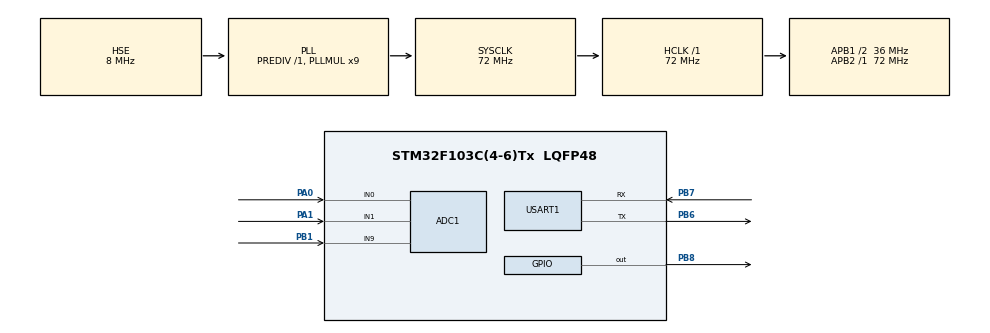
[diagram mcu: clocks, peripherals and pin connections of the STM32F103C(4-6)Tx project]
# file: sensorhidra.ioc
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ADC1.Channel-6\#ChannelRegularConversion=ADC_CHANNEL_9
ADC1.EnableRegularConversion=ENABLE
ADC1.NbrOfConversionFlag=1
ADC1.Rank-6\#ChannelRegularConversion=1
ADC1.SamplingTime-6\#ChannelRegularConversion=ADC_SAMPLETIME_13CYCLES_5
ADC1.master=1
Mcu.Family=STM32F1
Mcu.Name=STM32F103C(4-6)Tx
Mcu.Package=LQFP48
NVIC.PriorityGroup=NVIC_PRIORITYGROUP_4
NVIC.USART1_IRQn=true\:0\:0\:false\:false\:true\:true\:true\:true
PA0-WKUP.Signal=ADCx_IN0
PA1.Signal=ADCx_IN1
PA13.Mode=Serial_Wire
PA13.Signal=SYS_JTMS-SWDIO
PA14.Mode=Serial_Wire
PA14.Signal=SYS_JTCK-SWCLK
PB1.Signal=ADCx_IN9
PB6.Mode=Asynchronous
PB6.Signal=USART1_TX
PB7.Mode=Asynchronous
PB7.Signal=USART1_RX
PB8.Signal=GPIO_Output
PD0-OSC_IN.Mode=HSE-External-Oscillator
PD0-OSC_IN.Signal=RCC_OSC_IN
PD1-OSC_OUT.Mode=HSE-External-Oscillator
PD1-OSC_OUT.Signal=RCC_OSC_OUT
ProjectManager.HeapSize=0x200
ProjectManager.StackSize=0x400
ProjectManager.TargetToolchain=STM32CubeIDE
RCC.ADCPresc=RCC_ADCPCLK2_DIV6
RCC.AHBFreq_Value=72000000
RCC.APB1CLKDivider=RCC_HCLK_DIV2
RCC.APB1Freq_Value=36000000
RCC.APB1TimFreq_Value=72000000
RCC.APB2Freq_Value=72000000
RCC.APB2TimFreq_Value=72000000
RCC.HCLKFreq_Value=72000000
RCC.PLLMUL=RCC_PLL_MUL9
RCC.PLLSourceVirtual=RCC_PLLSOURCE_HSE
RCC.SYSCLKFreq_VALUE=72000000
RCC.SYSCLKSource=RCC_SYSCLKSOURCE_PLLCLK
RCC.USBFreq_Value=72000000
SH.ADCx_IN0.0=ADC1_IN0,IN0
SH.ADCx_IN1.0=ADC1_IN1,IN1
SH.ADCx_IN9.0=ADC1_IN9,IN9
TIM2.Prescaler=72-1
TIM3.Period=999
TIM3.Prescaler=71
USART1.VirtualMode=VM_ASYNC
VP_TIM2_VS_ClockSourceINT.Mode=Internal
VP_TIM3_VS_ClockSourceINT.Mode=Internal
board=custom

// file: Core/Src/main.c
/* USER CODE BEGIN Header */
/**
  ******************************************************************************
  * @file           : main.c
  * @brief          : Main program body
  ******************************************************************************
  * @attention
  *
  * Copyright (c) 2025 STMicroelectronics.
  * All rights reserved.
  *
  * This software is licensed under terms that can be found in the LICENSE file
  * in the root directory of this software component.
  * If no LICENSE file comes with this software, it is provided AS-IS.
  *
  ******************************************************************************
  */
/* USER CODE END Header */
#include "main.h"

/* USER CODE BEGIN Includes */
#include <stdio.h>
#include <string.h>
/* USER CODE END Includes */

/* USER CODE BEGIN PD */
#define DS18B20_PORT GPIOB
#define DS18B20_PIN GPIO_PIN_8
#define MAX485_RX_EN_PORT GPIOB
#define MAX485_RX_EN_PIN GPIO_PIN_3
#define MAX485_TX_EN_PORT GPIOA
#define MAX485_TX_EN_PIN GPIO_PIN_15

#define ADC_VREF        3.3f
#define ADC_FULLSCALE   4095.0f
#define TDS_FACTOR_K    0.5f     // 0.5 padrão (NaCl). Ajuste na calibração.
#define ALPHA_TEMP      0.02f    // coef. térmico da condutividade

#define SLOPE_25_mV_pH  59.16f   // @25°C
/* USER CODE END PD */

ADC_HandleTypeDef hadc1;

TIM_HandleTypeDef htim2;
TIM_HandleTypeDef htim3;

UART_HandleTypeDef huart1;

/* USER CODE BEGIN PV */
volatile uint16_t v0, v1, v2;
volatile float a0, a1, a2, NTU, NTU_regressao;
volatile float NTU_mul = 2.881, NTU_lin = 538;
float Temperature = 0;
float Humidity = 0;
uint8_t Presence = 0;
uint8_t Rh_byte1, Rh_byte2, Temp_byte1, Temp_byte2;
uint16_t SUM, RH, TEMP;

// Variaveis de TDS
float TDS_ppm;         // ppm (mg/L)
float EC_uScm;         // µS/cm
float EC_mScm;         // mS/cm
volatile float mScm_regressao;
volatile float mScm_mul = 1.37;

// Variaveis de pH
float v_ph;
float pH_value;
float K_DIV = 0.68;

// Variavel de recepção da UART
volatile uint8_t rx_byte;

/* USER CODE END PV */

void SystemClock_Config(void);
static void MX_GPIO_Init(void);
static void MX_ADC1_Init(void);
static void MX_TIM3_Init(void);
static void MX_USART1_UART_Init(void);
static void MX_TIM2_Init(void);

/* USER CODE BEGIN 0 */

static HAL_StatusTypeDef ADC1_ReadOne(uint32_t channel,
                                      uint32_t sample,   // ex: ADC_SAMPLETIME_13CYCLES_5
                                      uint16_t *out)
{
    HAL_StatusTypeDef st;
    ADC_ChannelConfTypeDef s = {0};

    // Garante que não está convertendo
    HAL_ADC_Stop(&hadc1);

    s.Channel      = channel;
    s.Rank         = ADC_REGULAR_RANK_1;    // com NbrOfConversion=1
    s.SamplingTime = sample;

    st = HAL_ADC_ConfigChannel(&hadc1, &s);
    if (st != HAL_OK) return st;

    st = HAL_ADC_Start(&hadc1);
    if (st != HAL_OK) return st;

    st = HAL_ADC_PollForConversion(&hadc1, 10);
    if (st != HAL_OK) { HAL_ADC_Stop(&hadc1); return st; }

    *out = (uint16_t)HAL_ADC_GetValue(&hadc1);
    HAL_ADC_Stop(&hadc1);
    return HAL_OK;
}

float ntu_from_adc(uint16_t raw)
{
    const float VREF = 3.3f;
    float Vadc = (float)raw * VREF / 4095.0f;  // tensão no pino do ADC (depois do divisor)

    // Polinômio já “absorvendo” o fator 0,66 do divisor
    return -2572.08448f*Vadc*Vadc + 8700.45455f*Vadc - 4352.9f;
}

void delay (uint16_t time)
{
	/* change your code here for the delay in microseconds */
	__HAL_TIM_SET_COUNTER(&htim2, 0);
	while ((__HAL_TIM_GET_COUNTER(&htim2))<time);
}

void Set_Pin_Output (GPIO_TypeDef *GPIOx, uint16_t GPIO_Pin)
{
	GPIO_InitTypeDef GPIO_InitStruct = {0};
	GPIO_InitStruct.Pin = GPIO_Pin;
	GPIO_InitStruct.Mode = GPIO_MODE_OUTPUT_PP;
	GPIO_InitStruct.Speed = GPIO_SPEED_FREQ_LOW;
	HAL_GPIO_Init(GPIOx, &GPIO_InitStruct);
}

void Set_Pin_Input (GPIO_TypeDef *GPIOx, uint16_t GPIO_Pin)
{
	GPIO_InitTypeDef GPIO_InitStruct = {0};
	GPIO_InitStruct.Pin = GPIO_Pin;
	GPIO_InitStruct.Mode = GPIO_MODE_INPUT;
	GPIO_InitStruct.Pull = GPIO_PULLUP;
	HAL_GPIO_Init(GPIOx, &GPIO_InitStruct);
}

uint8_t DS18B20_Start (void)
{
	uint8_t Response = 0;
	Set_Pin_Output(DS18B20_PORT, DS18B20_PIN);   // set the pin as output
	HAL_GPIO_WritePin (DS18B20_PORT, DS18B20_PIN, 0);  // pull the pin low
	delay (480);   // delay according to datasheet

	Set_Pin_Input(DS18B20_PORT, DS18B20_PIN);    // set the pin as input
	delay(80);
	if (!(HAL_GPIO_ReadPin (DS18B20_PORT, DS18B20_PIN))) Response = 1;    // if the pin is low i.e the presence pulse is detected
	else Response = -1;

	delay (400); // 480 us delay totally.

	return Response;
}

void DS18B20_Write (uint8_t data)
{
	Set_Pin_Output(DS18B20_PORT, DS18B20_PIN);  // set as output

	for (int i=0; i<8; i++)
	{
		if ((data & (1<<i))!=0)  // if the bit is high
		{
			// write 1
			Set_Pin_Output(DS18B20_PORT, DS18B20_PIN);  // set as output
			HAL_GPIO_WritePin (DS18B20_PORT, DS18B20_PIN, 0);  // pull the pin LOW
			delay (1);  // wait for 1 us

			Set_Pin_Input(DS18B20_PORT, DS18B20_PIN);  // set as input
			delay (50);  // wait for 60 us
		}

		else  // if the bit is low
		{
			// write 0
			Set_Pin_Output(DS18B20_PORT, DS18B20_PIN);
			HAL_GPIO_WritePin (DS18B20_PORT, DS18B20_PIN, 0);  // pull the pin LOW
			delay (50);  // wait for 60 us

			Set_Pin_Input(DS18B20_PORT, DS18B20_PIN);
		}
	}
}

uint8_t DS18B20_Read (void)
{
	uint8_t value=0;
	Set_Pin_Input(DS18B20_PORT, DS18B20_PIN); // configura como entrada

	for (int i=0;i<8;i++)
	{
		Set_Pin_Output(DS18B20_PORT, DS18B20_PIN); // Configura como saida
		HAL_GPIO_WritePin (GPIOB, GPIO_PIN_8, 0);  // pull the data pin LOW
		delay (2);  // wait for 2 us
		Set_Pin_Input(DS18B20_PORT, DS18B20_PIN); // configura como entrada
		if (HAL_GPIO_ReadPin (GPIOB, GPIO_PIN_8))  // if the pin is HIGH
		{
			value |= 1<<i;  // read = 1
		}
		delay (60);  // wait for 60 us
	}
	return value;
}

void Measure(){
	GPIOB->ODR |= (1 << 4);
	HAL_Delay(2000);
	ADC1_ReadOne(ADC_CHANNEL_9, ADC_SAMPLETIME_13CYCLES_5, &v0);
	ADC1_ReadOne(ADC_CHANNEL_0, ADC_SAMPLETIME_13CYCLES_5, &v1);
	ADC1_ReadOne(ADC_CHANNEL_1, ADC_SAMPLETIME_13CYCLES_5, &v2);

	NTU = ntu_from_adc(v0);
	NTU_regressao = ((NTU/NTU_mul) - NTU_lin);
		  //2.88 e -538

	Presence = DS18B20_Start ();
	DS18B20_Write (0xCC);  // skip ROM
	DS18B20_Write (0x44);  // convert t
	Presence = DS18B20_Start ();
	DS18B20_Write (0xCC);  // skip ROM
	DS18B20_Write (0xBE);  // Read Scratch-pad
	Temp_byte1 = DS18B20_Read();
	Temp_byte2 = DS18B20_Read();
	TEMP = ((Temp_byte2<<8))|Temp_byte1;
	Temperature = (float)TEMP/16.0;

	float v_adc = (float)v1 * ADC_VREF / ADC_FULLSCALE;
	float tempCoef = 1.0f + ALPHA_TEMP * (Temperature - 25.0f);
	float v_comp   = v_adc / tempCoef;
	float v2p = v_comp * v_comp;
	float v3p = v2p * v_comp;
	TDS_ppm = (133.42f * v3p - 255.86f * v2p + 857.39f * v_comp) * TDS_FACTOR_K;
	// --- Condutividade elétrica (µS/cm e mS/cm) ---
	EC_uScm = TDS_ppm / TDS_FACTOR_K;    // inverso do fator -> µS/cm
	EC_mScm = EC_uScm / 1000.0f;         // mS/cm (opcional)
	mScm_regressao = EC_mScm * mScm_mul;
	// Sensor de pH
	v_ph = (float)v2 * (ADC_VREF / (ADC_FULLSCALE * K_DIV)); // Esse K_DIV é a atenuação do operacional
	pH_value   = ((-5.7*v_ph) + 21.81);
	if (pH_value < 0.0f)  pH_value = 0.0f;
	if (pH_value > 14.0f) pH_value = 14.0f;
	GPIOB->ODR &= ~(1 << 4);
}

void TX(void){
	HAL_GPIO_WritePin (MAX485_RX_EN_PORT, MAX485_RX_EN_PIN, 1); // Habilita o TX
	HAL_GPIO_WritePin (MAX485_TX_EN_PORT, MAX485_TX_EN_PIN, 1);
	HAL_Delay(100);
	char msg[128];

	    // Formato: NTU&Temp&mScm&pH\r\n
	int len = snprintf(msg, sizeof(msg),
	                       "#%.2f&%.2f&%.3f&%.2f$",
	                       NTU_regressao, Temperature,
	                       mScm_regressao, pH_value);
	if (len > 0) {
	        HAL_UART_Transmit(&huart1, (uint8_t*)msg, len, HAL_MAX_DELAY);
	}
	HAL_Delay(100);
	HAL_GPIO_WritePin (MAX485_RX_EN_PORT, MAX485_RX_EN_PIN, 0); // Coloca como receptor
	HAL_GPIO_WritePin (MAX485_TX_EN_PORT, MAX485_TX_EN_PIN, 0);
}

void HAL_UART_RxCpltCallback(UART_HandleTypeDef *huart)
{
    if (huart->Instance == USART1)   // confere se é a USART1
    {
        if (rx_byte == '@') {
            // Ação desejada quando receber '@'
            //HAL_GPIO_TogglePin(GPIOB, GPIO_PIN_4);  // exemplo: inverter PB4
        }

        // Reabilita a recepção do próximo byte
        HAL_UART_Receive_IT(&huart1, &rx_byte, 1);
    }
}

/* USER CODE END 0 */

int main(void)
{

  /* MCU Configuration--------------------------------------------------------*/

  /* Reset of all peripherals, Initializes the Flash interface and the Systick. */
  HAL_Init();

  /* Configure the system clock */
  SystemClock_Config();

  /* Initialize all configured peripherals */
  MX_GPIO_Init();
  MX_ADC1_Init();
  MX_TIM3_Init();
  MX_USART1_UART_Init();
  MX_TIM2_Init();
  /* USER CODE BEGIN 2 */
  HAL_ADCEx_Calibration_Start(&hadc1);
  // Mosfet que ativa os sensores está no PB4
  RCC->APB2ENR |= RCC_APB2ENR_IOPBEN;     // habilita clock de GPIOB
  GPIOB->CRL &= ~(0xF << (4*4));          // limpa configuração do pino 4 (bits 19:16)
  GPIOB->CRL |=  (0x2 << (4*4));          // MODE4 = 10 (2 MHz), CNF4 = 00 (PP)
  GPIOB->ODR &= ~(1 << 4);
  HAL_TIM_Base_Start(&htim2);
  Set_Pin_Output(MAX485_RX_EN_PORT, MAX485_RX_EN_PIN);
  Set_Pin_Output(MAX485_TX_EN_PORT, MAX485_TX_EN_PIN);
  HAL_GPIO_WritePin (MAX485_RX_EN_PORT, MAX485_RX_EN_PIN, 0);// Desativa o TX MAX485
  HAL_GPIO_WritePin (MAX485_TX_EN_PORT, MAX485_TX_EN_PIN, 0);
  HAL_UART_Receive_IT(&huart1, &rx_byte, 1);
  /* USER CODE END 2 */

  /* Infinite loop */
  while (1)
  {

    /* USER CODE BEGIN 3 */

	  //char msg[] = "Hello\r\n";
	  //HAL_UART_Transmit(&huart1, (uint8_t*)msg, strlen(msg), HAL_MAX_DELAY);
	  if(rx_byte == 0x40){
		  rx_byte = 0;
		  Measure();
		  TX();
		  HAL_Delay(2000);
	  }
  }
  /* USER CODE END 3 */
}

void SystemClock_Config(void)
{
  RCC_OscInitTypeDef RCC_OscInitStruct = {0};
  RCC_ClkInitTypeDef RCC_ClkInitStruct = {0};
  RCC_PeriphCLKInitTypeDef PeriphClkInit = {0};

  /** Initializes the RCC Oscillators according to the specified parameters
  * in the RCC_OscInitTypeDef structure.
  */
  RCC_OscInitStruct.OscillatorType = RCC_OSCILLATORTYPE_HSE;
  RCC_OscInitStruct.HSEState = RCC_HSE_ON;
  RCC_OscInitStruct.HSEPredivValue = RCC_HSE_PREDIV_DIV1;
  RCC_OscInitStruct.HSIState = RCC_HSI_ON;
  RCC_OscInitStruct.PLL.PLLState = RCC_PLL_ON;
  RCC_OscInitStruct.PLL.PLLSource = RCC_PLLSOURCE_HSE;
  RCC_OscInitStruct.PLL.PLLMUL = RCC_PLL_MUL9;
  if (HAL_RCC_OscConfig(&RCC_OscInitStruct) != HAL_OK)
  {
    Error_Handler();
  }

  /** Initializes the CPU, AHB and APB buses clocks
  */
  RCC_ClkInitStruct.ClockType = RCC_CLOCKTYPE_HCLK|RCC_CLOCKTYPE_SYSCLK
                              |RCC_CLOCKTYPE_PCLK1|RCC_CLOCKTYPE_PCLK2;
  RCC_ClkInitStruct.SYSCLKSource = RCC_SYSCLKSOURCE_PLLCLK;
  RCC_ClkInitStruct.AHBCLKDivider = RCC_SYSCLK_DIV1;
  RCC_ClkInitStruct.APB1CLKDivider = RCC_HCLK_DIV2;
  RCC_ClkInitStruct.APB2CLKDivider = RCC_HCLK_DIV1;

  if (HAL_RCC_ClockConfig(&RCC_ClkInitStruct, FLASH_LATENCY_2) != HAL_OK)
  {
    Error_Handler();
  }
  PeriphClkInit.PeriphClockSelection = RCC_PERIPHCLK_ADC;
  PeriphClkInit.AdcClockSelection = RCC_ADCPCLK2_DIV6;
  if (HAL_RCCEx_PeriphCLKConfig(&PeriphClkInit) != HAL_OK)
  {
    Error_Handler();
  }
}

static void MX_ADC1_Init(void)
{

  ADC_ChannelConfTypeDef sConfig = {0};

  /** Common config
  */
  hadc1.Instance = ADC1;
  hadc1.Init.ScanConvMode = ADC_SCAN_DISABLE;
  hadc1.Init.ContinuousConvMode = DISABLE;
  hadc1.Init.DiscontinuousConvMode = DISABLE;
  hadc1.Init.ExternalTrigConv = ADC_SOFTWARE_START;
  hadc1.Init.DataAlign = ADC_DATAALIGN_RIGHT;
  hadc1.Init.NbrOfConversion = 1;
  if (HAL_ADC_Init(&hadc1) != HAL_OK)
  {
    Error_Handler();
  }

  /** Configure Regular Channel
  */
  sConfig.Channel = ADC_CHANNEL_9;
  sConfig.Rank = ADC_REGULAR_RANK_1;
  sConfig.SamplingTime = ADC_SAMPLETIME_13CYCLES_5;
  if (HAL_ADC_ConfigChannel(&hadc1, &sConfig) != HAL_OK)
  {
    Error_Handler();
  }

}

static void MX_TIM2_Init(void)
{

  TIM_ClockConfigTypeDef sClockSourceConfig = {0};
  TIM_MasterConfigTypeDef sMasterConfig = {0};

  htim2.Instance = TIM2;
  htim2.Init.Prescaler = 72-1;
  htim2.Init.CounterMode = TIM_COUNTERMODE_UP;
  htim2.Init.Period = 65535;
  htim2.Init.ClockDivision = TIM_CLOCKDIVISION_DIV1;
  htim2.Init.AutoReloadPreload = TIM_AUTORELOAD_PRELOAD_DISABLE;
  if (HAL_TIM_Base_Init(&htim2) != HAL_OK)
  {
    Error_Handler();
  }
  sClockSourceConfig.ClockSource = TIM_CLOCKSOURCE_INTERNAL;
  if (HAL_TIM_ConfigClockSource(&htim2, &sClockSourceConfig) != HAL_OK)
  {
    Error_Handler();
  }
  sMasterConfig.MasterOutputTrigger = TIM_TRGO_RESET;
  sMasterConfig.MasterSlaveMode = TIM_MASTERSLAVEMODE_DISABLE;
  if (HAL_TIMEx_MasterConfigSynchronization(&htim2, &sMasterConfig) != HAL_OK)
  {
    Error_Handler();
  }

}

static void MX_TIM3_Init(void)
{

  TIM_ClockConfigTypeDef sClockSourceConfig = {0};
  TIM_MasterConfigTypeDef sMasterConfig = {0};

  htim3.Instance = TIM3;
  htim3.Init.Prescaler = 71;
  htim3.Init.CounterMode = TIM_COUNTERMODE_UP;
  htim3.Init.Period = 999;
  htim3.Init.ClockDivision = TIM_CLOCKDIVISION_DIV1;
  htim3.Init.AutoReloadPreload = TIM_AUTORELOAD_PRELOAD_DISABLE;
  if (HAL_TIM_Base_Init(&htim3) != HAL_OK)
  {
    Error_Handler();
  }
  sClockSourceConfig.ClockSource = TIM_CLOCKSOURCE_INTERNAL;
  if (HAL_TIM_ConfigClockSource(&htim3, &sClockSourceConfig) != HAL_OK)
  {
    Error_Handler();
  }
  sMasterConfig.MasterOutputTrigger = TIM_TRGO_RESET;
  sMasterConfig.MasterSlaveMode = TIM_MASTERSLAVEMODE_DISABLE;
  if (HAL_TIMEx_MasterConfigSynchronization(&htim3, &sMasterConfig) != HAL_OK)
  {
    Error_Handler();
  }

}

static void MX_USART1_UART_Init(void)
{

  huart1.Instance = USART1;
  huart1.Init.BaudRate = 115200;
  huart1.Init.WordLength = UART_WORDLENGTH_8B;
  huart1.Init.StopBits = UART_STOPBITS_1;
  huart1.Init.Parity = UART_PARITY_NONE;
  huart1.Init.Mode = UART_MODE_TX_RX;
  huart1.Init.HwFlowCtl = UART_HWCONTROL_NONE;
  huart1.Init.OverSampling = UART_OVERSAMPLING_16;
  if (HAL_UART_Init(&huart1) != HAL_OK)
  {
    Error_Handler();
  }

}

static void MX_GPIO_Init(void)
{
  GPIO_InitTypeDef GPIO_InitStruct = {0};

  /* GPIO Ports Clock Enable */
  __HAL_RCC_GPIOD_CLK_ENABLE();
  __HAL_RCC_GPIOA_CLK_ENABLE();
  __HAL_RCC_GPIOB_CLK_ENABLE();

  /*Configure GPIO pin Output Level */
  HAL_GPIO_WritePin(GPIOB, GPIO_PIN_8, GPIO_PIN_RESET);

  /*Configure GPIO pin : PB8 */
  GPIO_InitStruct.Pin = GPIO_PIN_8;
  GPIO_InitStruct.Mode = GPIO_MODE_OUTPUT_PP;
  GPIO_InitStruct.Pull = GPIO_NOPULL;
  GPIO_InitStruct.Speed = GPIO_SPEED_FREQ_LOW;
  HAL_GPIO_Init(GPIOB, &GPIO_InitStruct);

}

void Error_Handler(void)
{
  __disable_irq();
  while (1)
  {
  }
}
